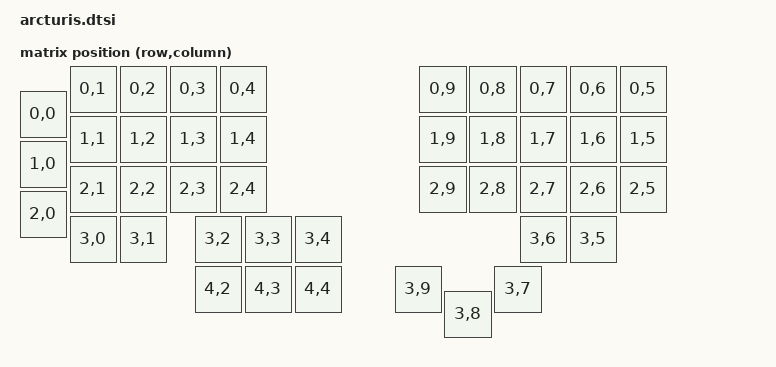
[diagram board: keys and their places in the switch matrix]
#include <dt-bindings/zmk/matrix_transform.h>
#include <physical_layouts.dtsi>

/ {
    chosen {
        zmk,physical-layout = &arcturis_default_layout;
    };

    default_transform: keymap_transform_0 {
        compatible = "zmk,matrix-transform";
        columns = <10>;
        rows = <5>;

        map = <
            RC(0,0) RC(0,1) RC(0,2) RC(0,3) RC(0,4)   RC(0,9) RC(0,8) RC(0,7) RC(0,6) RC(0,5)
            RC(1,0) RC(1,1) RC(1,2) RC(1,3) RC(1,4)   RC(1,9) RC(1,8) RC(1,7) RC(1,6) RC(1,5)
            RC(2,0) RC(2,1) RC(2,2) RC(2,3) RC(2,4)   RC(2,9) RC(2,8) RC(2,7) RC(2,6) RC(2,5)
            RC(3,0) RC(3,1) RC(3,2) RC(3,3) RC(3,4)   RC(3,9) RC(3,8) RC(3,7) RC(3,6) RC(3,5)
                            RC(4,2) RC(4,3) RC(4,4)
        >;
    };

    &kscan0 {
        diode-direction = "row2col";
    };

    split_inputs {
        #address-cells = <1>;
        #size-cells = <0>;

        trackball_split: trackball_split@2 {
            compatible = "zmk,input-split";
            reg = <2>;
        };
    };

    arcturis_default_layout: arcturis_default_layout {
        compatible = "zmk,physical-layout";
        display-name = "Arcturis-Default";

        transform = <&default_transform>;

        keys  //                     w   h    x    y     rot    rx    ry
            = <&key_physical_attrs 100 100    0   50       0     0     0>
            , <&key_physical_attrs 100 100  100    0       0     0     0>
            , <&key_physical_attrs 100 100  200    0       0     0     0>
            , <&key_physical_attrs 100 100  300    0       0     0     0>
            , <&key_physical_attrs 100 100  400    0       0     0     0>
            , <&key_physical_attrs 100 100  800    0       0     0     0>
            , <&key_physical_attrs 100 100  900    0       0     0     0>
            , <&key_physical_attrs 100 100 1000    0       0     0     0>
            , <&key_physical_attrs 100 100 1100    0       0     0     0>
            , <&key_physical_attrs 100 100 1200    0       0     0     0>
            , <&key_physical_attrs 100 100    0  150       0     0     0>
            , <&key_physical_attrs 100 100  100  100       0     0     0>
            , <&key_physical_attrs 100 100  200  100       0     0     0>
            , <&key_physical_attrs 100 100  300  100       0     0     0>
            , <&key_physical_attrs 100 100  400  100       0     0     0>
            , <&key_physical_attrs 100 100  800  100       0     0     0>
            , <&key_physical_attrs 100 100  900  100       0     0     0>
            , <&key_physical_attrs 100 100 1000  100       0     0     0>
            , <&key_physical_attrs 100 100 1100  100       0     0     0>
            , <&key_physical_attrs 100 100 1200  100       0     0     0>
            , <&key_physical_attrs 100 100    0  250       0     0     0>
            , <&key_physical_attrs 100 100  100  200       0     0     0>
            , <&key_physical_attrs 100 100  200  200       0     0     0>
            , <&key_physical_attrs 100 100  300  200       0     0     0>
            , <&key_physical_attrs 100 100  400  200       0     0     0>
            , <&key_physical_attrs 100 100  800  200       0     0     0>
            , <&key_physical_attrs 100 100  900  200       0     0     0>
            , <&key_physical_attrs 100 100 1000  200       0     0     0>
            , <&key_physical_attrs 100 100 1100  200       0     0     0>
            , <&key_physical_attrs 100 100 1200  200       0     0     0>
            , <&key_physical_attrs 100 100  100  300       0     0     0>
            , <&key_physical_attrs 100 100  200  300       0     0     0>
            , <&key_physical_attrs 100 100  350  300       0     0     0>
            , <&key_physical_attrs 100 100  450  300       0     0     0>
            , <&key_physical_attrs 100 100  550  300       0     0     0>
            , <&key_physical_attrs 100 100  750  400       0     0     0>
            , <&key_physical_attrs 100 100  850  450       0     0     0>
            , <&key_physical_attrs 100 100  950  400       0     0     0>
            , <&key_physical_attrs 100 100 1000  300       0     0     0>
            , <&key_physical_attrs 100 100 1100  300       0     0     0>
            , <&key_physical_attrs 100 100  350  400       0     0     0>
            , <&key_physical_attrs 100 100  450  400       0     0     0>
            , <&key_physical_attrs 100 100  550  400       0     0     0>
            ;
    };


    arcturis_position_map {
        compatible = "zmk,physical-layout-position-map";

        complete;

        ten {
            physical-layout = <&arcturis_default_layout>;
            positions
                = < 0   1  2  3  4  5  6  7  8  9 >
                , < 10 11 12 13 14 15 16 17 18 19 >
                , < 20 21 22 23 24 25 26 27 28 29 > 
                , < 30 31 32 33 34 35 36 37 38 39 >
                , <       40 41 42                >
                ;
        };

    };

};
